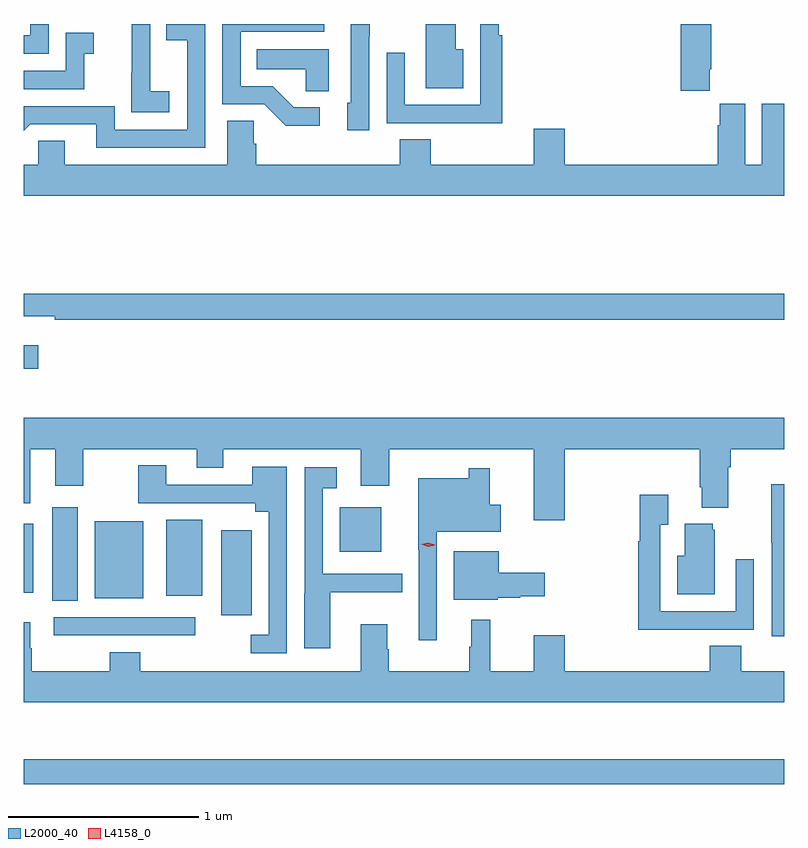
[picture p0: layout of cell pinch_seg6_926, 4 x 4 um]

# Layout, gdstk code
import gdstk
lib = gdstk.Library(unit=1e-6, precision=1e-09)
def R(c, l, rs):  # rectangles x0, y0, x1, y1
    for r in rs: c.add(gdstk.rectangle(r[:2], r[2:], *l))
def P(c, l, *ps):  # polygons
    for p in ps: c.add(gdstk.Polygon(p, *l))
L2000_40 = (2000, 40)
L4158_0 = (4158, 0)

pinch_seg6_926 = lib.new_cell('pinch_seg6_926')
R(pinch_seg6_926, L2000_40, [(270.218,936.25,274.218,936.379), (270.375,937.032,271.12,937.128), (271.256,937.137,271.417,937.585), (270.368,937.213,270.502,937.705), (270.59,937.226,270.847,937.633), (270.968,937.241,271.156,937.639), (270.218,937.256,270.268,937.618), (271.88,937.472,272.098,937.705), (270.218,938.435,270.295,938.557)])
P(pinch_seg6_926, L2000_40, [(272.034,940.183),(272.037,940.183),(272.037,940.248),(271.938,940.248),(271.938,939.834),(271.919,939.834),(271.919,939.69),(272.034,939.69)],
  [(271.774,939.81),(271.639,939.81),(271.528,939.921),(271.359,939.921),(271.359,940.206),(271.798,940.206),(271.798,940.248),(271.263,940.248),(271.263,939.825),(271.482,939.825),(271.595,939.713),(271.774,939.713)],
  [(272.53,940.114),(272.491,940.114),(272.491,940.248),(272.333,940.248),(272.333,939.911),(272.53,939.911)],
  [(271.173,940.248),(270.967,940.248),(270.967,940.162),(271.077,940.162),(271.077,939.693),(270.696,939.693),(270.696,939.816),(270.218,939.816),(270.218,939.686),(270.252,939.72),(270.599,939.72),(270.599,939.597),(271.173,939.597)],
  [(270.348,940.248),(270.252,940.248),(270.252,940.188),(270.218,940.188),(270.218,940.092),(270.348,940.092)],
  [(273.827,940.009),(273.834,940.009),(273.834,940.248),(273.674,940.248),(273.674,939.897),(273.827,939.897)],
  [(272.735,940.19),(272.717,940.19),(272.717,940.248),(272.619,940.248),(272.619,939.822),(272.223,939.822),(272.223,940.096),(272.127,940.096),(272.127,939.726),(272.443,939.726),(272.443,939.725),(272.735,939.725)],
  [(270.982,939.895),(270.884,939.895),(270.884,940.124),(270.882,940.124),(270.882,940.248),(270.785,940.248),(270.785,939.991),(270.784,939.991),(270.784,939.785),(270.982,939.785)],
  [(270.537,940.091),(270.586,940.091),(270.586,940.201),(270.438,940.201),(270.438,940.002),(270.218,940.002),(270.218,939.906),(270.537,939.906)],
  [(271.822,940.114),(271.444,940.114),(271.444,940.01),(271.701,940.01),(271.701,939.895),(271.822,939.895)],
  [(274.218,939.829),(274.1,939.829),(274.1,939.508),(274.012,939.508),(274.012,939.829),(273.878,939.829),(273.878,939.716),(273.869,939.716),(273.869,939.508),(273.064,939.508),(273.064,939.697),(272.9,939.697),(272.9,939.508),(272.36,939.508),(272.36,939.641),(272.195,939.641),(272.195,939.508),(271.442,939.508),(271.442,939.617),(271.428,939.617),(271.428,939.74),(271.289,939.74),(271.289,939.508),(270.433,939.508),(270.433,939.635),(270.294,939.635),(270.294,939.508),(270.218,939.508),(270.218,939.344),(274.218,939.344)],
  [(274.218,938.828),(270.218,938.828),(270.218,938.711),(270.382,938.711),(270.382,938.692),(274.218,938.692)],
  [(273.064,938.012),(273.773,938.012),(273.773,937.81),(273.785,937.81),(273.785,937.703),(273.925,937.703),(273.925,937.916),(273.938,937.916),(273.938,938.012),(274.218,938.012),(274.218,938.176),(270.218,938.176),(270.218,937.728),(270.253,937.728),(270.253,938.012),(270.383,938.012),(270.383,937.818),(270.531,937.818),(270.531,938.012),(271.127,938.012),(271.127,937.913),(271.267,937.913),(271.267,938.012),(271.991,938.012),(271.991,937.818),(272.14,937.818),(272.14,938.012),(272.9,938.012),(272.9,937.638),(273.064,937.638)],
  [(271.602,937.918),(271.421,937.918),(271.421,937.824),(270.967,937.824),(270.967,937.927),(270.82,937.927),(270.82,937.728),(271.436,937.728),(271.436,937.682),(271.506,937.682),(271.506,937.035),(271.413,937.035),(271.413,936.939),(271.602,936.939)],
  [(271.831,937.259),(272.21,937.259),(272.21,937.356),(271.791,937.356),(271.791,937.805),(271.864,937.805),(271.864,937.915),(271.695,937.915),(271.695,937.253),(271.694,937.253),(271.694,936.963),(271.831,936.963)],
  [(272.391,937.577),(272.728,937.577),(272.728,937.719),(272.67,937.719),(272.67,937.912),(272.559,937.912),(272.559,937.858),(272.294,937.858),(272.294,937.481),(272.295,937.481),(272.295,937.005),(272.391,937.005)],
  [(274.218,937.826),(274.15,937.826),(274.15,937.519),(274.152,937.519),(274.152,937.026),(274.218,937.026)],
  [(273.743,937.062),(274.059,937.062),(274.059,937.432),(273.963,937.432),(273.963,937.158),(273.567,937.158),(273.567,937.615),(273.607,937.615),(273.607,937.771),(273.459,937.771),(273.459,937.526),(273.451,937.526),(273.451,937.061),(273.743,937.061)],
  [(273.853,937.587),(273.842,937.587),(273.842,937.618),(273.695,937.618),(273.695,937.45),(273.656,937.45),(273.656,937.247),(273.853,937.247)],
  [(272.712,937.231),(272.829,937.231),(272.829,937.238),(272.959,937.238),(272.959,937.36),(272.716,937.36),(272.716,937.474),(272.48,937.474),(272.48,937.22),(272.712,937.22)],
  [(274.218,936.844),(273.992,936.844),(273.992,936.977),(273.827,936.977),(273.827,936.844),(273.064,936.844),(273.064,937.033),(272.9,937.033),(272.9,936.844),(272.673,936.844),(272.673,937.114),(272.573,937.114),(272.573,936.971),(272.562,936.971),(272.562,936.844),(272.139,936.844),(272.139,936.959),(272.131,936.959),(272.131,937.09),(271.991,937.09),(271.991,936.844),(270.83,936.844),(270.83,936.943),(270.67,936.943),(270.67,936.844),(270.261,936.844),(270.261,936.965),(270.253,936.965),(270.253,937.102),(270.218,937.102),(270.218,936.68),(274.218,936.68)])
P(pinch_seg6_926, L4158_0, [(272.345,937.499),(272.31,937.51),(272.31,937.511),(272.31,937.511),(272.346,937.519),(272.381,937.508),(272.381,937.508),(272.381,937.507)])

lib.write_gds('pinch_seg6_926.gds')
